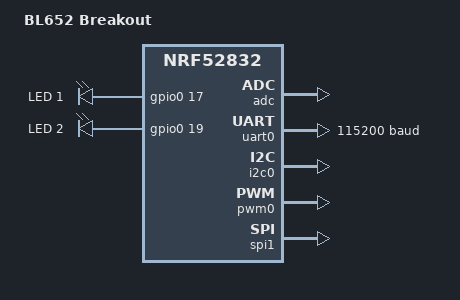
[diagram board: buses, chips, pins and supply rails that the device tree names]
/*
 * Copyright (c) 2023 Nordic Semiconductor ASA
 * Copyright (c) 2024 thedjnK
 *
 * SPDX-License-Identifier: Apache-2.0
 */

/dts-v1/;
#include <nordic/nrf52832_qfaa.dtsi>
#include "bl652_breakout-pinctrl.dtsi"
#include <zephyr/dt-bindings/input/input-event-codes.h>

/ {
	model = "BL652 Breakout";
	compatible = "ogatatsu,bl652_breakout";

	chosen {
		zephyr,console = &uart0;
		zephyr,shell-uart = &uart0;
		zephyr,uart-mcumgr = &uart0;
		zephyr,bt-mon-uart = &uart0;
		zephyr,bt-c2h-uart = &uart0;
		zephyr,sram = &sram0;
		zephyr,flash = &flash0;
		zephyr,code-partition = &slot0_partition;
	};

	leds {
		compatible = "gpio-leds";
		led1: led_1 {
			gpios = <&gpio0 17 GPIO_ACTIVE_HIGH>;
			label = "LED 1";
		};
		led2: led_2 {
			gpios = <&gpio0 19 GPIO_ACTIVE_HIGH>;
			label = "LED 2";
		};
	};

	/* These aliases are provided for compatibility with samples */
	aliases {
		led0 = &led1;
		led1 = &led2;
		mcuboot-led0 = &led1;
		watchdog0 = &wdt0;
	};
};

&adc {
	status = "okay";
};

&uicr {
	gpio-as-nreset;
};

&gpiote {
	status = "okay";
};

&gpio0 {
	status = "okay";
};

&uart0 {
	status = "okay";
	compatible = "nordic,nrf-uart";
	current-speed = <115200>;
	pinctrl-0 = <&uart0_default>;
	pinctrl-1 = <&uart0_sleep>;
	pinctrl-names = "default", "sleep";
};

&i2c0 {
	compatible = "nordic,nrf-twi";
	status = "okay";

	pinctrl-0 = <&i2c0_default>;
	pinctrl-1 = <&i2c0_sleep>;
	pinctrl-names = "default", "sleep";
};

&pwm0 {
	status = "okay";
	pinctrl-0 = <&pwm0_default>;
	pinctrl-1 = <&pwm0_sleep>;
	pinctrl-names = "default", "sleep";
};

&spi1 {
	compatible = "nordic,nrf-spi";
	status = "okay";
	cs-gpios = <&gpio0 12 GPIO_ACTIVE_LOW>;
	pinctrl-0 = <&spi1_default>;
	pinctrl-1 = <&spi1_sleep>;
	pinctrl-names = "default", "sleep";
};

&flash0 {
	partitions {
		compatible = "fixed-partitions";
		#address-cells = <1>;
		#size-cells = <1>;

		boot_partition: partition@0 {
			label = "mcuboot";
			reg = <0x00000000 0xc000>;
		};
		slot0_partition: partition@c000 {
			label = "image-0";
			reg = <0x0000c000 0x38000>;
		};
		slot1_partition: partition@44000 {
			label = "image-1";
			reg = <0x00044000 0x36000>;
		};
		storage_partition: partition@7a000 {
			label = "storage";
			reg = <0x0007a000 0x00006000>;
		};
	};
};
